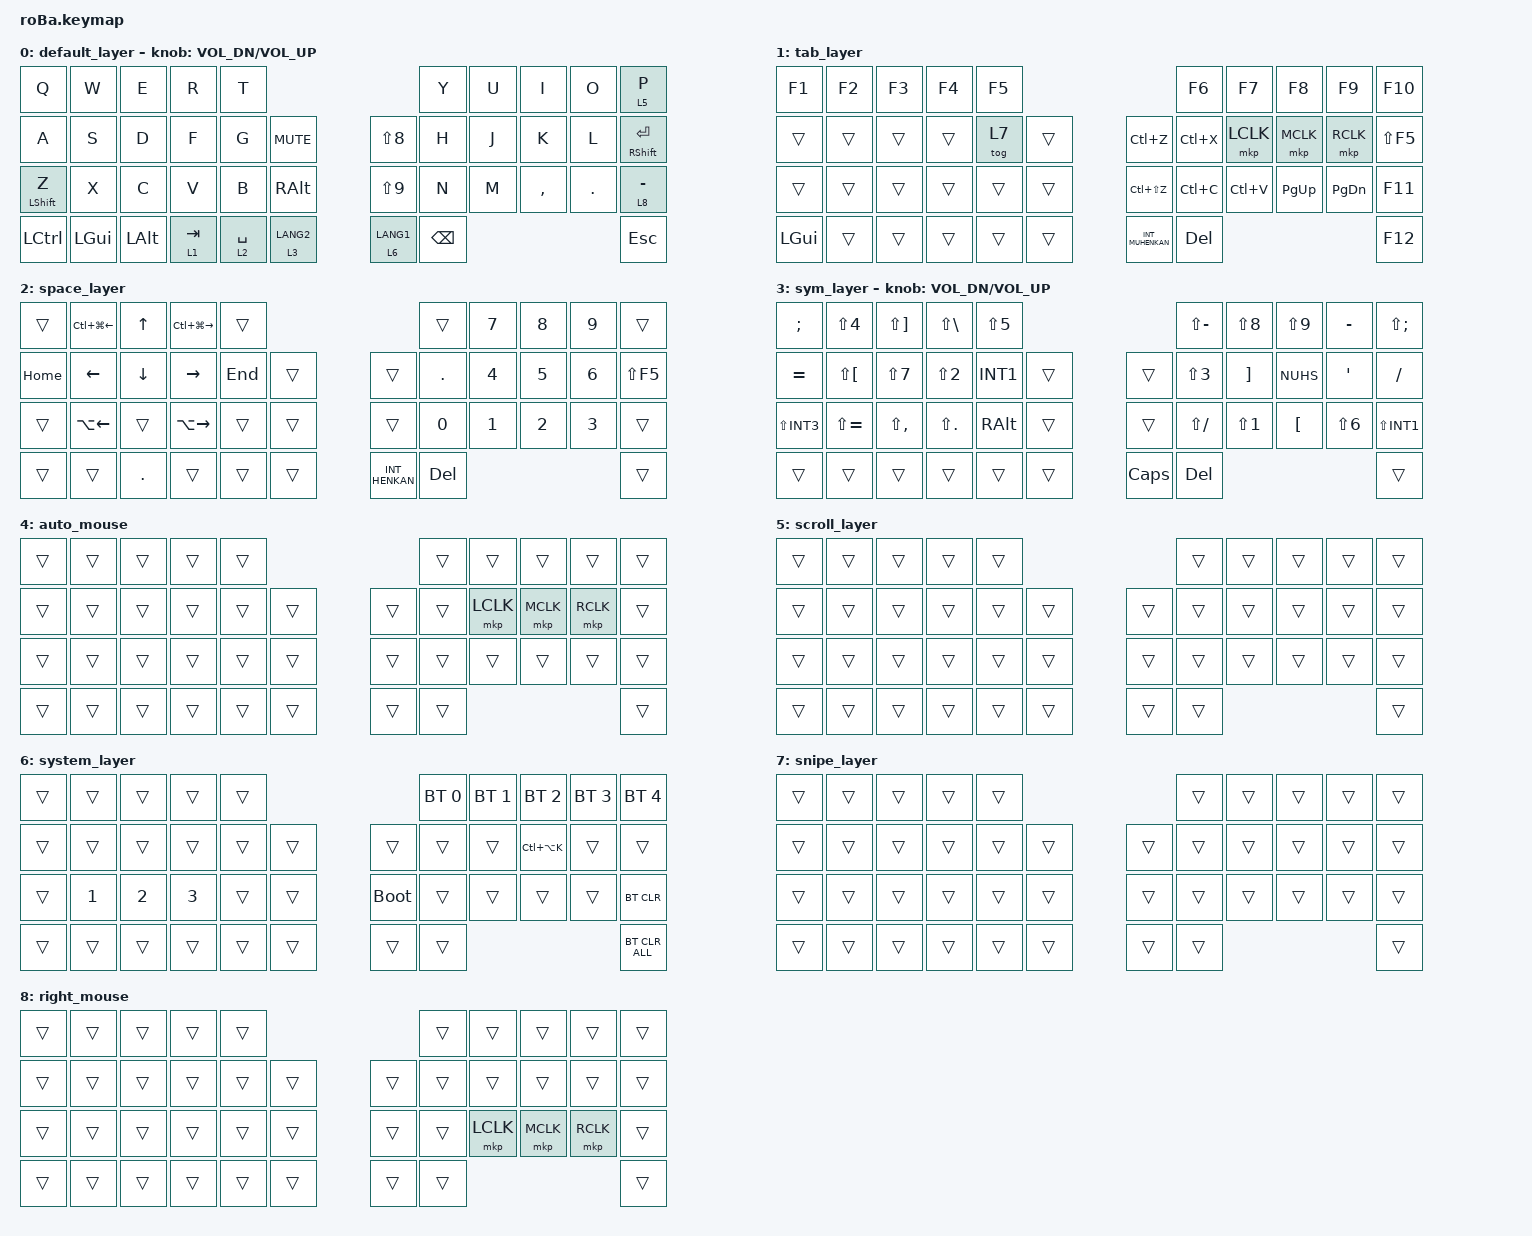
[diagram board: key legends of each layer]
/*
 * roBa-LP keymap (Keyball39 mental model port for rock, 2026-08-10, updated 2026-08-11)
 *
 * Physical position layout (43 slots):
 *   Row 0 (10):  0  1  2  3  4               5  6  7  8  9
 *   Row 1 (12): 10 11 12 13 14 15         16 17 18 19 20 21
 *   Row 2 (12): 22 23 24 25 26 27         28 29 30 31 32 33
 *   Row 3 (9):  34 35 36 37 38 39         40 41              42
 *
 * Key positions:
 *   pos 15 (L Row1 col5) = ENCODER CLICK (SW1 → diode → Row1, SW2 → Col5)
 *                          rock needs to install the diode for SW1→Row1 path
 *                          (initially skipped thinking encoder didn't need it).
 *   pos 27 (L Row2 col5) = RAlt for AquaVoice
 *   pos 16 = R Row1 additional (rock's "( / Undo")
 *   pos 28 = R Row2 additional (rock's ") / Redo")
 *   pos 40 (inner R thumb) = LANG1 かな
 *   pos 41 (outer R thumb) = BS
 *   pos 42 (far right pinky) = ESC
 *
 * JIS layout: `(`=LS(N8), `)`=LS(N9), `|`=LS(INT3), `\`=INT1, `_`=LS(INT1)
 */

#include <behaviors.dtsi>
#include <dt-bindings/zmk/bt.h>
#include <dt-bindings/zmk/keys.h>
#include <dt-bindings/zmk/pointing.h>

// Silver 40g linear (light switches) → Mod-Tap misfire prevention
&mt {
    flavor = "balanced";
    tapping-term-ms = <250>;
    quick-tap-ms = <120>;
    require-prior-idle-ms = <100>;
};

&lt {
    flavor = "balanced";
    tapping-term-ms = <200>;
    quick-tap-ms = <120>;
};

&trackball {
    automouse-layer = <0>;  // disabled — even with CoroPit, brushing still triggers K→MB3. Use Tab+JKL for clicks.
    scroll-layers = <3 5>;  // L3 (英数 hold, left-hand) / L5 (ESC hold, right-hand) → scroll. L8 removed so drag works there.
    snipe-layers = <7>;  // L7 active → CPI drops to SNIPE_CPI (precision mode)
};

// Encoder sensitivity: default 10 triggers per full rotation was too sensitive.
// Halve it → 1 PgDn per ~72° rotation (was ~36°).
&sensors {
    triggers-per-rotation = <5>;
};

/ {
    keymap {
        compatible = "zmk,keymap";

        // ===================================================================
        // L0: BASE (Keyball39 mental model)
        // ===================================================================
        default_layer {
            bindings = <
&kp Q          &kp W    &kp E    &kp R       &kp T                                             &kp Y      &kp U    &kp I      &kp O    &lt 5 P
&kp A          &kp S    &kp D    &kp F       &kp G       &kp C_MUTE              &kp LS(N8)    &kp H      &kp J    &kp K      &kp L    &mt RSHIFT RET
&mt LSHIFT Z   &kp X    &kp C    &kp V       &kp B       &kp RALT                &kp LS(N9)    &kp N      &kp M    &kp COMMA  &kp DOT  &lt 8 MINUS
&kp LCTRL      &kp LGUI &kp LALT &lt 1 TAB   &lt 2 SPACE &lt 3 LANG2             &lt 6 LANG1   &kp BSPC                                    &kp ESC
            >;

            sensor-bindings = <&inc_dec_kp C_VOL_DN C_VOL_UP>;  // rock: CW=vol down (reversed)
        };

        // ===================================================================
        // L1: TAB layer (Tab hold) — F keys + mouse + Undo/Redo + copy/paste
        // ===================================================================
        tab_layer {
            bindings = <
&kp F1         &kp F2   &kp F3   &kp F4      &kp F5                                            &kp F6         &kp F7      &kp F8      &kp F9      &kp F10
&trans         &trans   &trans   &trans      &tog 7      &trans                 &kp LC(Z)      &kp LC(X)      &mkp LCLK   &mkp MCLK   &mkp RCLK   &kp LS(F5)
&trans         &trans   &trans   &trans      &trans      &trans                 &kp LC(LS(Z))  &kp LC(C)      &kp LC(V)   &kp PG_UP   &kp PG_DN   &kp F11
&kp LGUI       &trans   &trans   &trans      &trans      &trans                 &kp INT_MUHENKAN &kp DEL                                            &kp F12
            >;
        };

        // ===================================================================
        // L2: SPACE layer (Space hold) — Nav + Numpad
        // ===================================================================
        space_layer {
            bindings = <
&trans         &kp LC(LG(LEFT)) &kp UP    &kp LC(LG(RIGHT))  &trans                                          &trans        &kp N7    &kp N8    &kp N9    &trans
&kp HOME       &kp LEFT         &kp DOWN  &kp RIGHT          &kp END       &trans                &trans      &kp DOT       &kp N4    &kp N5    &kp N6    &kp LS(F5)
&trans         &kp LA(LEFT)     &trans    &kp LA(RIGHT)      &trans        &trans                &trans      &kp N0        &kp N1    &kp N2    &kp N3    &trans
&trans         &trans           &kp DOT   &trans             &trans        &trans                &kp INT_HENKAN &kp DEL                                     &trans
            >;
        };

        // ===================================================================
        // L3: SYMBOL layer (英数 hold) — JIS symbols
        // ===================================================================
        // Faithful port of rock's Keyball39 L3.
        // Note: 0x0231 (LS(BSLH)) at Row0 col3 keeps rock's original — may not
        // produce a useful char on JIS OS. Adjust if needed.
        // ===================================================================
        sym_layer {
            bindings = <
&kp SEMI       &kp LS(N4)      &kp LS(RBKT)   &kp LS(BSLH)  &kp LS(N5)                                        &kp LS(MINUS)   &kp LS(N8)    &kp LS(N9)   &kp MINUS    &kp LS(SEMI)
&kp EQUAL      &kp LS(LBKT)    &kp LS(N7)     &kp LS(N2)    &kp INT1      &trans                &trans        &kp LS(N3)      &kp RBKT      &kp NUHS     &kp SQT      &kp FSLH
&kp LS(INT3)   &kp LS(EQUAL)   &kp LS(COMMA)  &kp LS(DOT)   &kp RALT      &trans                &trans        &kp LS(FSLH)    &kp LS(N1)    &kp LBKT     &kp LS(N6)   &kp LS(INT1)
&trans         &trans          &trans         &trans        &trans        &trans                &kp CAPS      &kp DEL                                                  &trans
            >;

            sensor-bindings = <&inc_dec_kp C_VOL_DN C_VOL_UP>;
        };

        // ===================================================================
        // L4: AUTO-MOUSE (auto-activated by trackball movement)
        // J K L = MB1 / MB3 / MB2 (Keyball39 pattern)
        // ===================================================================
        auto_mouse {
            bindings = <
&trans         &trans   &trans   &trans      &trans                                            &trans        &trans      &trans      &trans      &trans
&trans         &trans   &trans   &trans      &trans      &trans                &trans          &trans        &mkp LCLK   &mkp MCLK   &mkp RCLK   &trans
&trans         &trans   &trans   &trans      &trans      &trans                &trans          &trans        &trans      &trans      &trans      &trans
&trans         &trans   &trans   &trans      &trans      &trans                &trans          &trans                                            &trans
            >;
        };

        // ===================================================================
        // L5: SCROLL (trackball scroll when this layer is active)
        // No key currently activates L5 — add &mo 5 to a key later if wanted.
        // ===================================================================
        scroll_layer {
            bindings = <
&trans         &trans   &trans   &trans      &trans                                            &trans        &trans      &trans      &trans      &trans
&trans         &trans   &trans   &trans      &trans      &trans                &trans          &trans        &trans      &trans      &trans      &trans
&trans         &trans   &trans   &trans      &trans      &trans                &trans          &trans        &trans      &trans      &trans      &trans
&trans         &trans   &trans   &trans      &trans      &trans                &trans          &trans                                            &trans
            >;
        };

        // ===================================================================
        // L6: SYSTEM (BT selection + bootloader)
        // No key currently activates L6 — add &mo 6 to a key later.
        // ===================================================================
        system_layer {
            bindings = <
&trans         &trans        &trans        &trans        &trans                                            &bt BT_SEL 0  &bt BT_SEL 1  &bt BT_SEL 2  &bt BT_SEL 3  &bt BT_SEL 4
&trans         &trans        &trans        &trans        &trans        &trans                &trans        &trans        &trans        &kp LC(LA(K)) &trans        &trans
&trans         &kp N1        &kp N2        &kp N3        &trans        &trans                &bootloader   &trans        &trans        &trans        &trans        &bt BT_CLR
&trans         &trans        &trans        &trans        &trans        &trans                &trans        &trans                                                  &bt BT_CLR_ALL
            >;
        };

        // ===================================================================
        // L7: SNIPE (precision trackball mode)
        // Toggled by Tab+G (L1 pos 14) → trackball CPI drops to
        // CONFIG_PMW3610_SNIPE_CPI (300 vs base 1100).
        // All keys are trans — only trackball behavior changes.
        // ===================================================================
        snipe_layer {
            bindings = <
&trans         &trans   &trans   &trans      &trans                                            &trans        &trans      &trans      &trans      &trans
&trans         &trans   &trans   &trans      &trans      &trans                &trans          &trans        &trans      &trans      &trans      &trans
&trans         &trans   &trans   &trans      &trans      &trans                &trans          &trans        &trans      &trans      &trans      &trans
&trans         &trans   &trans   &trans      &trans      &trans                &trans          &trans                                            &trans
            >;
        };

        // ===================================================================
        // L8: RIGHT-HAND MOUSE (P hold, right hand only)
        // - Trackball becomes scroll (via scroll-layers = <... 8>)
        // - U = Left click, I = Middle click, O = Right click
        // Rationale: right hand only mouse operation (browsing while left hand rests)
        // ===================================================================
        right_mouse {
            bindings = <
&trans         &trans   &trans   &trans      &trans                                            &trans        &trans      &trans      &trans      &trans
&trans         &trans   &trans   &trans      &trans      &trans                &trans          &trans        &trans      &trans      &trans      &trans
&trans         &trans   &trans   &trans      &trans      &trans                &trans          &trans        &mkp LCLK   &mkp MCLK   &mkp RCLK   &trans
&trans         &trans   &trans   &trans      &trans      &trans                &trans          &trans                                            &trans
            >;
        };
    };
};
